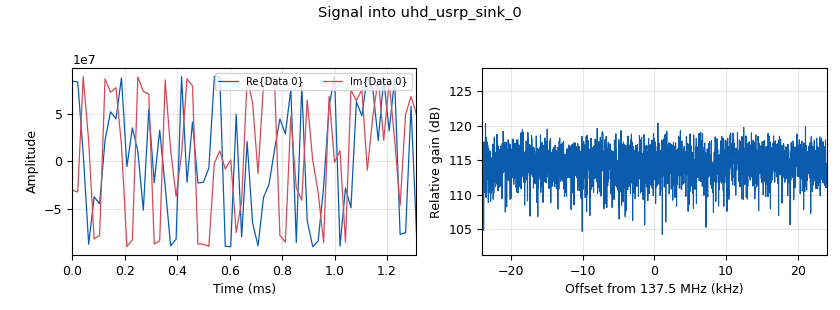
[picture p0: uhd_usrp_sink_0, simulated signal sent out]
options:
  parameters:
    author: curtis
    description: Transmits sound wave on 915 MHz band
    generate_options: qt_gui
    id: usrp_fm_tx
    output_language: python
    title: USRP_fm_tx
  states: {}

blocks:
- name: frequency
  id: variable_qtgui_range
  parameters:
    label: Frequency
    start: 108e6
    step: '1000'
    stop: 156e6
    value: 137.5e6
  states: {}
- name: samp_rate
  id: variable
  parameters:
    value: '48000'
  states: {}
- name: analog_nbfm_tx_0
  id: analog_nbfm_tx
  parameters:
    audio_rate: '32000'
    fh: '-1.0'
    max_dev: 5e3
    quad_rate: '256000'
    tau: '75e-6'
  states: {}
- name: analog_sig_source_x_0
  id: analog_sig_source_x
  parameters:
    amp: '100000'
    freq: '440'
    offset: '0'
    phase: '0'
    samp_rate: samp_rate
    type: float
    waveform: analog.GR_COS_WAVE
  states: {}
- name: blocks_multiply_const_vxx_0
  id: blocks_multiply_const_vxx
  parameters:
    const: '90000000'
    type: complex
  states: {}
- name: blocks_multiply_const_vxx_0_0
  id: blocks_multiply_const_vxx
  parameters:
    const: '20'
    type: float
  states: {}
- name: rational_resampler_xxx_0
  id: rational_resampler_xxx
  parameters:
    decim: '2'
    fbw: '0.4'
    interp: '3'
    taps: ''
    type: fff
  states: {}
- name: uhd_usrp_sink_0
  id: uhd_usrp_sink
  parameters:
    ant0: TX/RX
    bw0: '34000'
    center_freq0: frequency
    dev_args: '""'
    gain0: '0'
    len_tag_name: ''
    samp_rate: samp_rate
    sync: sync
    type: fc32
  states: {}

connections:
- [analog_nbfm_tx_0, '0', blocks_multiply_const_vxx_0, '0']
- [analog_sig_source_x_0, '0', blocks_multiply_const_vxx_0_0, '0']
- [blocks_multiply_const_vxx_0, '0', uhd_usrp_sink_0, '0']
- [blocks_multiply_const_vxx_0_0, '0', rational_resampler_xxx_0, '0']
- [rational_resampler_xxx_0, '0', analog_nbfm_tx_0, '0']

metadata:
  file_format: 1
  grc_version: 3.10.3.0
